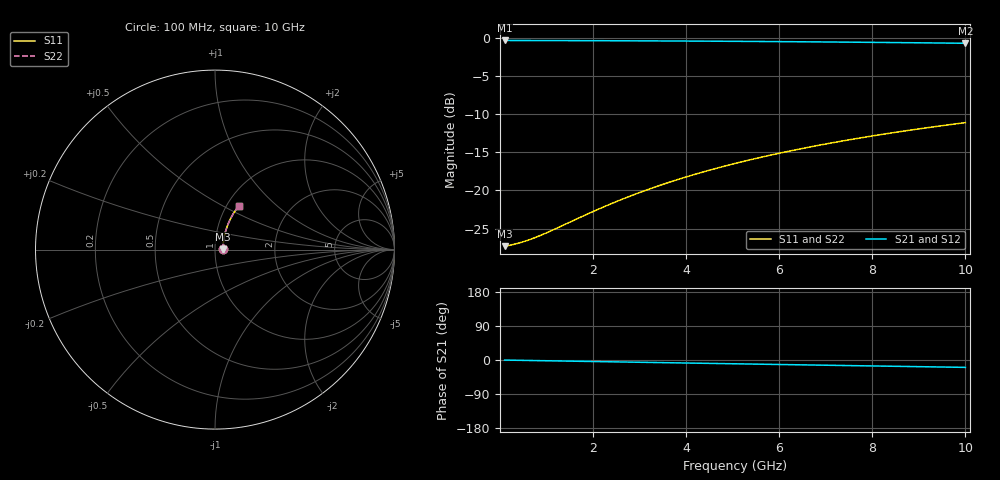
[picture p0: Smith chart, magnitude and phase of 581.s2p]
# Hz S RI R 50.00
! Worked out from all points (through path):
!   100 points, 100 MHz to 10 GHz, reference 50 ohm
!   highest |S21| = -0.38 dB at 100 MHz (marker M1); lowest = -0.8 dB at 10 GHz (marker M2)
!   group delay of S21, straight-line fit = 5.41 ps
!   lowest |S11| = -27.3 dB at 100 MHz (marker M3), VSWR 1.09, Z = 54.5 + j0.297 ohm
!   |S11| at or under -10 dB: start of sweep to end of sweep
!   |S22| runs from -27.3 to -11.1 dB; largest |S21 - S12| = 0
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1e8  0.043 0.00272  0.957 -0.00334  0.957 -0.00334  0.043 0.00272
3e8  0.0435 0.00815  0.9565 -0.01  0.9565 -0.01  0.0435 0.00815
4e8  0.0438 0.0109  0.9562 -0.0133  0.9562 -0.0133  0.0438 0.0109
5e8  0.044 0.0136  0.956 -0.0167  0.956 -0.0167  0.044 0.0136
7e8  0.0444 0.019  0.9555 -0.0233  0.9555 -0.0233  0.0444 0.019
9e8  0.0449 0.0244  0.9551 -0.0299  0.9551 -0.0299  0.0449 0.0244
1.1e9  0.0455 0.0298  0.9545 -0.0366  0.9545 -0.0366  0.0455 0.0298
1.8e9  0.0478 0.0486  0.9521 -0.0597  0.9521 -0.0597  0.0478 0.0486
2.2e9  0.0495 0.0593  0.9504 -0.0728  0.9504 -0.0728  0.0495 0.0593
2.6e9  0.0514 0.0699  0.9484 -0.0859  0.9484 -0.0859  0.0514 0.0699
3e9  0.0537 0.0804  0.9461 -0.0989  0.9461 -0.0989  0.0537 0.0804
3.4e9  0.0562 0.0908  0.9436 -0.1119  0.9436 -0.1119  0.0562 0.0908
3.8e9  0.0589 0.1012  0.9408 -0.1247  0.9408 -0.1247  0.0589 0.1012
4.2e9  0.062 0.1114  0.9376 -0.1374  0.9376 -0.1374  0.062 0.1114
4.6e9  0.0653 0.1216  0.9343 -0.15  0.9343 -0.15  0.0653 0.1216
5.1e9  0.0698 0.1341  0.9297 -0.1656  0.9297 -0.1656  0.0698 0.1341
5.9e9  0.0778 0.1536  0.9215 -0.1901  0.9215 -0.1901  0.0778 0.1536
6.7e9  0.0868 0.1726  0.9123 -0.2141  0.9123 -0.2141  0.0868 0.1726
7.5e9  0.0968 0.1909  0.9021 -0.2373  0.9021 -0.2373  0.0968 0.1909
8.4e9  0.109 0.2106  0.8896 -0.2627  0.8896 -0.2627  0.109 0.2106
9.2e9  0.1206 0.2273  0.8776 -0.2844  0.8776 -0.2844  0.1206 0.2273
1e10  0.1331 0.2433  0.8649 -0.3053  0.8649 -0.3053  0.1331 0.2433
